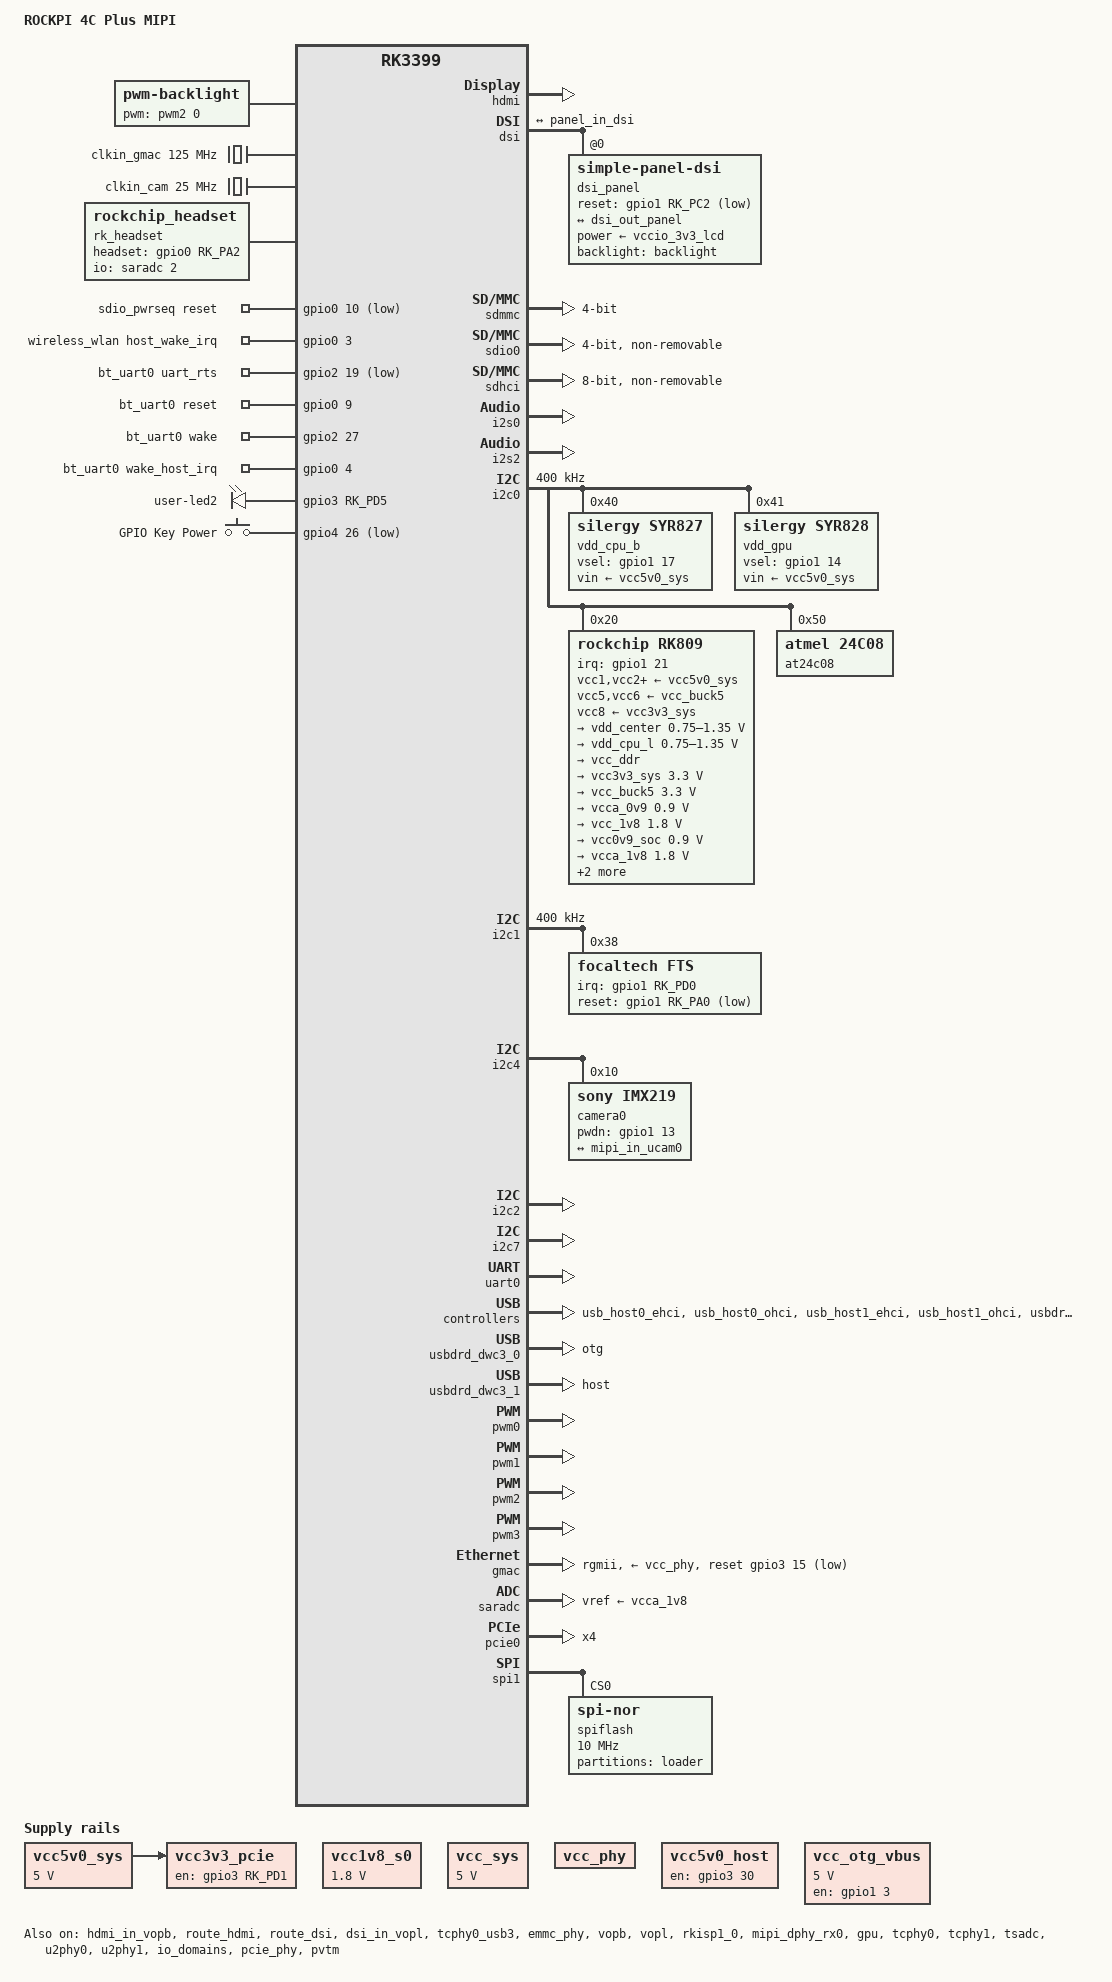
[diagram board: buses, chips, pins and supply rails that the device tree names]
/*
 * Copyright (c) 2016 Fuzhou Rockchip Electronics Co., Ltd
 *
 * This file is dual-licensed: you can use it either under the terms
 * of the GPL or the X11 license, at your option. Note that this dual
 * licensing only applies to this file, and not this project as a
 * whole.
 *
 *  a) This file is free software; you can redistribute it and/or
 *     modify it under the terms of the GNU General Public License as
 *     published by the Free Software Foundation; either version 2 of the
 *     License, or (at your option) any later version.
 *
 *     This file is distributed in the hope that it will be useful,
 *     but WITHOUT ANY WARRANTY; without even the implied warranty of
 *     MERCHANTABILITY or FITNESS FOR A PARTICULAR PURPOSE.  See the
 *     GNU General Public License for more details.
 *
 * Or, alternatively,
 *
 *  b) Permission is hereby granted, free of charge, to any person
 *     obtaining a copy of this software and associated documentation
 *     files (the "Software"), to deal in the Software without
 *     restriction, including without limitation the rights to use,
 *     copy, modify, merge, publish, distribute, sublicense, and/or
 *     sell copies of the Software, and to permit persons to whom the
 *     Software is furnished to do so, subject to the following
 *     conditions:
 *
 *     The above copyright notice and this permission notice shall be
 *     included in all copies or substantial portions of the Software.
 *
 *     THE SOFTWARE IS PROVIDED "AS IS", WITHOUT WARRANTY OF ANY KIND,
 *     EXPRESS OR IMPLIED, INCLUDING BUT NOT LIMITED TO THE WARRANTIES
 *     OF MERCHANTABILITY, FITNESS FOR A PARTICULAR PURPOSE AND
 *     NONINFRINGEMENT. IN NO EVENT SHALL THE AUTHORS OR COPYRIGHT
 *     HOLDERS BE LIABLE FOR ANY CLAIM, DAMAGES OR OTHER LIABILITY,
 *     WHETHER IN AN ACTION OF CONTRACT, TORT OR OTHERWISE, ARISING
 *     FROM, OUT OF OR IN CONNECTION WITH THE SOFTWARE OR THE USE OR
 *     OTHER DEALINGS IN THE SOFTWARE.
 */

/dts-v1/;

#include <dt-bindings/pwm/pwm.h>
#include <dt-bindings/input/input.h>
#include "rk3399.dtsi"
#include "rk3399-android.dtsi"
#include "rk3399-opp.dtsi"
#include "rk3399-vop-clk-set.dtsi"

&firmware_android {
	status = "disabled";
	compatible = "android,firmware";
	boot_devices = "fe330000.sdhci";
	vbmeta {
		status = "disabled";
		compatible = "android,vbmeta";
		parts = "vbmeta,boot,system,vendor,dtbo";
	};
	fstab {
		status = "disabled";
		compatible = "android,fstab";
		vendor {
			compatible = "android,vendor";
			dev = "/dev/block/by-name/vendor";
			type = "ext4";
			mnt_flags = "ro,barrier=1,inode_readahead_blks=8";
			fsmgr_flags = "wait,avb";
		};
	};
};

/ {

	model = "ROCKPI 4C Plus MIPI";
	compatible = "rockchip,rockpi","rockchip,rk3399";
	chosen {
	bootargs = "earlycon=uart8250,mmio32,0xff1a0000 swiotlb=1 console=ttyFIQ0 androidboot.baseband=N/A androidboot.veritymode=enforcing androidboot.hardware=rk30board androidboot.console=ttyFIQ0 init=/init initrd=0x62000001,0x00800000 coherent_pool=1m";
	};

	backlight: backlight {
		status = "okay";
		compatible = "pwm-backlight";
		pwms = <&pwm2 0 25000 0>;
		brightness-levels = <
			  0  20  20  21  21  22  22  23
			 23  24  24  25  25  26  26  27
			 27  28  28  29  29  30  30  31
			 31  32  32  33  33  34  34  35
			 35  36  36  37  37  38  38  39
			 40  41  42  43  44  45  46  47
			 48  49  50  51  52  53  54  55
			 56  57  58  59  60  61  62  63
			 64  65  66  67  68  69  70  71
			 72  73  74  75  76  77  78  79
			 80  81  82  83  84  85  86  87
			 88  89  90  91  92  93  94  95
			 96  97  98  99 100 101 102 103
			104 105 106 107 108 109 110 111
			112 113 114 115 116 117 118 119
			120 121 122 123 124 125 126 127
			128 129 130 131 132 133 134 135
			136 137 138 139 140 141 142 143
			144 145 146 147 148 149 150 151
			152 153 154 155 156 157 158 159
			160 161 162 163 164 165 166 167
			168 169 170 171 172 173 174 175
			176 177 178 179 180 181 182 183
			184 185 186 187 188 189 190 191
			192 193 194 195 196 197 198 199
			200 201 202 203 204 205 206 207
			208 209 210 211 212 213 214 215
			216 217 218 219 220 221 222 223
			224 225 226 227 228 229 230 231
			232 233 234 235 236 237 238 239
			240 241 242 243 244 245 246 247
			248 249 250 251 252 253 254 255
		>;
		default-brightness-level = <200>;	//开机时默认背光亮度
		//enable-gpios = <&gpio3 RK_PD7 GPIO_ACTIVE_HIGH>;
	};

	vcc5v0_sys: vcc5v0-sys {
		compatible = "regulator-fixed";
		regulator-name = "vcc5v0_sys";
		regulator-always-on;
		regulator-boot-on;
		regulator-min-microvolt = <5000000>;
		regulator-max-microvolt = <5000000>;
	}; 

	vcc1v8_s0: vcc1v8-s0 {
		compatible = "regulator-fixed";
		regulator-name = "vcc1v8_s0";
		regulator-min-microvolt = <1800000>;
		regulator-max-microvolt = <1800000>;
		regulator-always-on;
	};

	vcc_sys: vcc-sys {
		compatible = "regulator-fixed";
		regulator-name = "vcc_sys";
		regulator-min-microvolt = <5000000>;
		regulator-max-microvolt = <5000000>;
		regulator-always-on;
	};

	vcc3v3_pcie: vcc3v3-pcie-regulator {
		compatible = "regulator-fixed";
		enable-active-high;
		gpio = <&gpio3 RK_PD1 GPIO_ACTIVE_HIGH>;
		pinctrl-names = "default";
		pinctrl-0 = <&pcie_drv>;
		regulator-boot-on;
		regulator-always-on;
		regulator-name = "vcc3v3_pcie";
		vin-supply = <&vcc5v0_sys>;
	};

	vcc_phy: vcc-phy-regulator {
		compatible = "regulator-fixed";
		regulator-name = "vcc_phy";
		regulator-always-on;
		regulator-boot-on;
	};

	vcc5v0_host: vcc5v0-host-regulator {
		compatible = "regulator-fixed";
		enable-active-high;
		gpio = <&gpio3 30 GPIO_ACTIVE_HIGH>;
		pinctrl-names = "default";
		pinctrl-0 = <&host_vbus_drv>;
		regulator-name = "vcc5v0_host";
		regulator-always-on;
		regulator-boot-on;
	};

	vcc_otg_vbus: otg-vbus-regulator {
		compatible = "regulator-fixed";
		gpio = <&gpio1 3 GPIO_ACTIVE_HIGH>;
		pinctrl-names = "default";
		pinctrl-0 = <&otg_vbus_drv>;
		regulator-name = "vcc_otg_vbus";
		regulator-min-microvolt = <5000000>;
		regulator-max-microvolt = <5000000>;
		enable-active-high;
	};

	clkin_gmac: external-gmac-clock {
		compatible = "fixed-clock";
		clock-frequency = <125000000>;
		clock-output-names = "clkin_gmac";
		#clock-cells = <0>;
	};

	clkin_cam: external-camera-clock {
		compatible = "fixed-clock";
		clock-frequency = <25000000>;
		clock-output-names = "cam_clk";
		#clock-cells = <0>;
	};

	rk809_sound: rk809-sound {
		status = "okay";
		compatible = "simple-audio-card";
		simple-audio-card,format = "i2s";
		simple-audio-card,name = "rockchip,rk809-codec";
		simple-audio-card,mclk-fs = <256>;
		simple-audio-card,widgets =
			"Microphone", "Mic Jack",
			"Headphone", "Headphone Jack";
		simple-audio-card,routing =
			"Mic Jack", "MICBIAS1",
			"IN1P", "Mic Jack",
			"Headphone Jack", "HPOL",
			"Headphone Jack", "HPOR";
		simple-audio-card,cpu {
			sound-dai = <&i2s0>;
		};
		simple-audio-card,codec {
			sound-dai = <&rk809_codec>;
		};
	};

	rk_headset: rk-headset {
		status = "okay";
		compatible = "rockchip_headset";
		headset_gpio = <&gpio0 RK_PA2 GPIO_ACTIVE_HIGH>;
		pinctrl-names = "default";
		pinctrl-0 = <&hp_det>;
		io-channels = <&saradc 2>;    //HP_HOOK引脚
	};

	hdmi_sound: hdmi-sound {
		status = "disabled";
		compatible = "simple-audio-card";
		simple-audio-card,format = "i2s";
		simple-audio-card,mclk-fs = <256>;
		simple-audio-card,name = "rockchip,hdmi";

		simple-audio-card,cpu {
			sound-dai = <&i2s2>;
		};
		simple-audio-card,codec {
			sound-dai = <&dw_hdmi_audio>;
		};
	};

	dw_hdmi_audio: dw-hdmi-audio {
		status = "disabled";
		compatible = "rockchip,dw-hdmi-audio";
		#sound-dai-cells = <0>;
	};

	hdmi_codec: hdmi-codec {
		compatible = "simple-audio-card";
		simple-audio-card,format = "i2s";
		simple-audio-card,mclk-fs = <256>;
		simple-audio-card,name = "rockchiphdmi";

		simple-audio-card,cpu {
			sound-dai = <&i2s2>;
		};

		simple-audio-card,codec {
			sound-dai = <&hdmi>;
		};
	};

	spdif-sound {
		status = "disabled";
		compatible = "simple-audio-card";
		simple-audio-card,name = "ROCKCHIP,SPDIF";
		simple-audio-card,cpu {
			sound-dai = <&spdif>;
		};
		simple-audio-card,codec {
			sound-dai = <&spdif_out>;
		};
	};

	spdif_out: spdif-out {
		status = "disabled";
		compatible = "linux,spdif-dit";
		#sound-dai-cells = <0>;
	};

	sdio_pwrseq: sdio-pwrseq {
		compatible = "mmc-pwrseq-simple";
		clocks = <&rk809 1>;
		clock-names = "ext_clock";
		pinctrl-names = "default";
		pinctrl-0 = <&wifi_enable_h>;

		/*
		 * On the module itself this is one of these (depending
		 * on the actual card populated):
		 * - SDIO_RESET_L_WL_REG_ON
		 * - PDN (power down when low)
		 */
		reset-gpios = <&gpio0 10 GPIO_ACTIVE_LOW>;
	};

	wireless_wlan: wireless-wlan {
		compatible = "wlan-platdata";
		rockchip,grf = <&grf>;
		wifi_chip_type = "ap6256";
		sdio_vref = <1800>;
		WIFI,host_wake_irq = <&gpio0 3 GPIO_ACTIVE_HIGH>;
		status = "okay";
	};

	bt_uart0: wireless_bluetooth: wireless-bluetooth {
		compatible = "bluetooth-platdata";
		clocks = <&rk809 1>;
		clock-names = "ext_clock";
		/* wifi-bt-power-toggle; */
		uart_rts_gpios = <&gpio2 19 GPIO_ACTIVE_LOW>;
		pinctrl-names = "default", "rts_gpio";
		pinctrl-0 = <&uart0_rts>;
		pinctrl-1 = <&uart0_gpios>;
		/* BT,power_gpio  = <&gpio3 19 GPIO_ACTIVE_HIGH>; */
		BT,reset_gpio    = <&gpio0 9 GPIO_ACTIVE_HIGH>;
		BT,wake_gpio     = <&gpio2 27 GPIO_ACTIVE_HIGH>;
		BT,wake_host_irq = <&gpio0 4 GPIO_ACTIVE_HIGH>;
		status = "okay";
	};

	gpio-leds {
		compatible = "gpio-leds";
		status = "okay";

		user-led2 {
			gpios = <&gpio3 RK_PD5 GPIO_ACTIVE_HIGH>;
			linux,default-trigger = "heartbeat";
			default-state = "on";
		};
	};

	test-power {
		status = "okay";
	};

	vpd0: virtual-pd0 {
		status = "disabled";
		compatible = "linux,extcon-pd-virtual";
		dp-det-gpios = <&gpio4 25 GPIO_ACTIVE_LOW>;
		/* 0: positive, 1: negative*/
		vpd,init-flip = <0>;
		/* 0: u2, 1: u3*/
		vpd,init-ss = <1>;
		/* 0: dfp, 1: ufp, 2: dp 3: dp/ufp */
		vpd,init-mode = <2>;
	};
};

&hdmi {
	pinctrl-names = "default";
	pinctrl-0 = <&hdmi_i2c_xfer>, <&hdmi_cec>;
	status = "okay";
	rockchip,phy-table =
		<74250000 0x8009 0x0004 0x0272>,
		<165000000 0x802b 0x0004 0x0209>,
		<297000000 0x8039 0x0005 0x028d>,
		<594000000 0x8039 0x0000 0x019d>,
		<000000000 0x0000 0x0000 0x0000>;
};

&dsi {
	status = "okay";
	rockchip,lane-rate = <480>;

	dsi_panel: panel@0 {
		status = "okay";
		compatible = "simple-panel-dsi";
		reg = <0>;

		backlight = <&backlight>;
		power-supply = <&vccio_3v3_lcd>;

		reset-gpios = <&gpio1 RK_PC2 GPIO_ACTIVE_LOW>;

		pinctrl-names = "default";
		pinctrl-0 = <&lcd_rst_gpio>;

		prepare-delay-ms = <120>;
		reset-delay-ms = <120>;
		init-delay-ms = <120>;
		enable-delay-ms = <100>;
		disable-delay-ms = <120>;
		unprepare-delay-ms = <120>;

		width-mm = <62>;
		height-mm = <110>;

		dsi,flags = <(MIPI_DSI_MODE_VIDEO | MIPI_DSI_MODE_VIDEO_BURST |
				MIPI_DSI_MODE_LPM | MIPI_DSI_MODE_EOT_PACKET)>;
		dsi,format = <MIPI_DSI_FMT_RGB888>;
		dsi,lanes = <4>;

		panel-init-sequence = [
			15 00 02 E0 00
			15 00 02 E1 93
			15 00 02 E2 65
			15 00 02 E3 F8
			15 00 02 80 03
			15 00 02 E0 01
			15 00 02 00 00
			15 00 02 01 3B
			15 00 02 0C 74
			15 00 02 17 00
			15 00 02 18 AF
			15 00 02 19 00
			15 00 02 1A 00
			15 00 02 1B AF
			15 00 02 1C 00
			15 00 02 35 26
			15 00 02 37 09
			15 00 02 38 04
			15 00 02 39 00
			15 00 02 3A 01
			15 00 02 3C 78
			15 00 02 3D FF
			15 00 02 3E FF
			15 00 02 3F 7F
			15 00 02 40 06
			15 00 02 41 A0
			15 00 02 42 81
			15 00 02 43 14
			15 00 02 44 23
			15 00 02 45 28
			15 00 02 55 02
			15 00 02 57 69
			15 00 02 59 0A
			15 00 02 5A 2A
			15 00 02 5B 17
			15 00 02 5D 7F
			15 00 02 5E 6B
			15 00 02 5F 5C
			15 00 02 60 4F
			15 00 02 61 4D
			15 00 02 62 3F
			15 00 02 63 42
			15 00 02 64 2B
			15 00 02 65 44
			15 00 02 66 43
			15 00 02 67 43
			15 00 02 68 63
			15 00 02 69 52
			15 00 02 6A 5A
			15 00 02 6B 4F
			15 00 02 6C 4E
			15 00 02 6D 20
			15 00 02 6E 0F
			15 00 02 6F 00
			15 00 02 70 7F
			15 00 02 71 6B
			15 00 02 72 5C
			15 00 02 73 4F
			15 00 02 74 4D
			15 00 02 75 3F
			15 00 02 76 42
			15 00 02 77 2B
			15 00 02 78 44
			15 00 02 79 43
			15 00 02 7A 43
			15 00 02 7B 63
			15 00 02 7C 52
			15 00 02 7D 5A
			15 00 02 7E 4F
			15 00 02 7F 4E
			15 00 02 80 20
			15 00 02 81 0F
			15 00 02 82 00
			15 00 02 E0 02
			15 00 02 00 02
			15 00 02 01 02
			15 00 02 02 00
			15 00 02 03 00
			15 00 02 04 1E
			15 00 02 05 1E
			15 00 02 06 1F
			15 00 02 07 1F
			15 00 02 08 1F
			15 00 02 09 17
			15 00 02 0A 17
			15 00 02 0B 37
			15 00 02 0C 37
			15 00 02 0D 47
			15 00 02 0E 47
			15 00 02 0F 45
			15 00 02 10 45
			15 00 02 11 4B
			15 00 02 12 4B
			15 00 02 13 49
			15 00 02 14 49
			15 00 02 15 1F
			15 00 02 16 01
			15 00 02 17 01
			15 00 02 18 00
			15 00 02 19 00
			15 00 02 1A 1E
			15 00 02 1B 1E
			15 00 02 1C 1F
			15 00 02 1D 1F
			15 00 02 1E 1F
			15 00 02 1F 17
			15 00 02 20 17
			15 00 02 21 37
			15 00 02 22 37
			15 00 02 23 46
			15 00 02 24 46
			15 00 02 25 44
			15 00 02 26 44
			15 00 02 27 4A
			15 00 02 28 4A
			15 00 02 29 48
			15 00 02 2A 48
			15 00 02 2B 1F
			15 00 02 2C 01
			15 00 02 2D 01
			15 00 02 2E 00
			15 00 02 2F 00
			15 00 02 30 1F
			15 00 02 31 1F
			15 00 02 32 1E
			15 00 02 33 1E
			15 00 02 34 1F
			15 00 02 35 17
			15 00 02 36 17
			15 00 02 37 37
			15 00 02 38 37
			15 00 02 39 08
			15 00 02 3A 08
			15 00 02 3B 0A
			15 00 02 3C 0A
			15 00 02 3D 04
			15 00 02 3E 04
			15 00 02 3F 06
			15 00 02 40 06
			15 00 02 41 1F
			15 00 02 42 02
			15 00 02 43 02
			15 00 02 44 00
			15 00 02 45 00
			15 00 02 46 1F
			15 00 02 47 1F
			15 00 02 48 1E
			15 00 02 49 1E
			15 00 02 4A 1F
			15 00 02 4B 17
			15 00 02 4C 17
			15 00 02 4D 37
			15 00 02 4E 37
			15 00 02 4F 09
			15 00 02 50 09
			15 00 02 51 0B
			15 00 02 52 0B
			15 00 02 53 05
			15 00 02 54 05
			15 00 02 55 07
			15 00 02 56 07
			15 00 02 57 1F
			15 00 02 58 40
			15 00 02 5B 30
			15 00 02 5C 16
			15 00 02 5D 34
			15 00 02 5E 05
			15 00 02 5F 02
			15 00 02 63 00
			15 00 02 64 6A
			15 00 02 67 73
			15 00 02 68 1D
			15 00 02 69 08
			15 00 02 6A 6A
			15 00 02 6B 08
			15 00 02 6C 00
			15 00 02 6D 00
			15 00 02 6E 00
			15 00 02 6F 88
			15 00 02 75 FF
			15 00 02 77 DD
			15 00 02 78 3F
			15 00 02 79 15
			15 00 02 7A 17
			15 00 02 7D 14
			15 00 02 7E 82
			15 00 02 E0 04
			15 00 02 00 0E
			15 00 02 02 B3
			15 00 02 09 61
			15 00 02 0E 48
			15 00 02 E0 00
			15 00 02 E6 02
			15 00 02 E7 0C
			05 78 01 11
			05 14 01 29
		];

		panel-exit-sequence = [
			05 14 01 28
			05 78 01 10
		];

		display-timings {
			native-mode = <&timing0>;
			timing0: timing0 {
				clock-frequency = <67000000>;
				hactive = <800>;
				vactive = <1280>;

				vback-porch = <20>;
				vfront-porch = <20>;

				hback-porch = <20>;
				hfront-porch = <40>;

				hsync-len = <18>;
				vsync-len = <4>;

				vsync-active = <0>;
				hsync-active = <0>;
				de-active = <0>;
				pixelclk-active = <0>;
			};
		};

		ports {
			#address-cells = <1>;
			#size-cells = <0>;

			port@0 {
				reg = <0>;
				panel_in_dsi: endpoint {
					remote-endpoint = <&dsi_out_panel>;
				};
			};
		};
	};

	ports {
		#address-cells = <1>;
		#size-cells = <0>;

		port@1 {
			reg = <1>;
			dsi_out_panel: endpoint {
				remote-endpoint = <&panel_in_dsi>;
			};
		};
	};
};

&hdmi_in_vopl {
	status = "disabled";
};

&hdmi_in_vopb {
	status = "okay";
};

&route_hdmi {
	status = "okay";
};

&route_dsi {
	status = "okay";
	connect = <&vopl_out_dsi>;
};

&dp_in_vopb {
	status = "disabled";
};

&dp_in_vopl {
	status = "disabled";
};

&edp_in_vopl {
	status = "disabled";
};

&edp_in_vopb {
	status = "disabled";
};

&edp_in_vopl {
	status = "disabled";
};

&dsi_in_vopl {
    status = "okay";
	remote-endpoint = <&vopl_out_dsi>;
};

&dsi_in_vopb {
    status = "disabled";
};

&dsi1_in_vopl {
    status = "disabled";
};

&dsi1_in_vopb {
    status = "disabled";
};

&tcphy0_dp {
	status = "disabled";
};

&tcphy0_usb3 {
	status = "okay";
};

&cdn_dp {
	status = "disabled";
	extcon = <&vpd0>;
};

&sdmmc {
	clock-frequency = <100000000>;
	clock-freq-min-max = <100000 100000000>;
	supports-sd;
	bus-width = <4>;
	cap-mmc-highspeed;
	cap-sd-highspeed;
	disable-wp;
	num-slots = <1>;
	// sd-uhs-sdr104;
	vqmmc-supply = <&vcc_sd>;
	pinctrl-names = "default";
	pinctrl-0 = <&sdmmc_clk &sdmmc_cmd &sdmmc_cd &sdmmc_bus4>;
	card-detect-delay = <800>;
	status = "okay";
};

&sdio0 {
	clock-frequency = <100000000>;
	clock-freq-min-max = <200000 100000000>;
	supports-sdio;
	bus-width = <4>;
	disable-wp;
	cap-sd-highspeed;
	cap-sdio-irq;
	keep-power-in-suspend;
	mmc-pwrseq = <&sdio_pwrseq>;
	non-removable;
	num-slots = <1>;
	pinctrl-names = "default";
	pinctrl-0 = <&sdio0_bus4 &sdio0_cmd &sdio0_clk>;
	sd-uhs-sdr104;
	status = "okay";
};

&emmc_phy {
	status = "okay";
};

&sdhci {
	max-frequency = <150000000>;
	bus-width = <8>;
	mmc-hs400-1_8v;
	supports-emmc;
	non-removable;
	mmc-hs400-enhanced-strobe;
	status = "okay";
};

&i2s0 {
	status = "okay";
	rockchip,i2s-broken-burst-len;
	rockchip,playback-channels = <2>;
	rockchip,capture-channels = <2>;
	#sound-dai-cells = <0>;
	pinctrl-names = "default";
	pinctrl-0 = <&i2s0_8ch_bus>;
};

&i2s1 {
	status = "disabled";
	#sound-dai-cells = <0>;
};

&i2s2 {
	#sound-dai-cells = <0>;
};

&spdif {
	pinctrl-0 = <&spdif_bus_1>;
	status = "disabled";
	#sound-dai-cells = <0>;
};

&i2c0 {
	status = "okay";
	i2c-scl-rising-time-ns = <168>;
	i2c-scl-falling-time-ns = <4>;
	clock-frequency = <400000>;

	vdd_cpu_b: syr827@40 {
		compatible = "silergy,syr827";
		reg = <0x40>;
		regulator-compatible = "fan53555-reg";
		pinctrl-0 = <&vsel1_gpio>;
		vsel-gpios = <&gpio1 17 GPIO_ACTIVE_HIGH>;
		regulator-name = "vdd_cpu_b";
		regulator-min-microvolt = <712500>;
		regulator-max-microvolt = <1500000>;
		regulator-ramp-delay = <1000>;
		fcs,suspend-voltage-selector = <1>;
		regulator-always-on;
		regulator-boot-on;
		vin-supply = <&vcc5v0_sys>;
		regulator-state-mem {
			regulator-off-in-suspend;
		};
	};

	vdd_gpu: syr828@41 {
		compatible = "silergy,syr828";
		reg = <0x41>;
		regulator-compatible = "fan53555-reg";
		pinctrl-0 = <&vsel2_gpio>;
		vsel-gpios = <&gpio1 14 GPIO_ACTIVE_HIGH>;
		regulator-name = "vdd_gpu";
		regulator-min-microvolt = <712500>;
		regulator-max-microvolt = <1500000>;
		regulator-ramp-delay = <1000>;
		fcs,suspend-voltage-selector = <1>;
		regulator-always-on;
		regulator-boot-on;
		vin-supply = <&vcc5v0_sys>;
		regulator-initial-mode = <1>; /* 1:force PWM 2:auto */
		regulator-state-mem {
			regulator-off-in-suspend;
		};
	};

	rk809: pmic@20 {
		compatible = "rockchip,rk809";
		reg = <0x20>;
		interrupt-parent = <&gpio1>;
		interrupts = <21 IRQ_TYPE_LEVEL_LOW>;
		pinctrl-names = "default", "pmic-sleep",
						"pmic-power-off", "pmic-reset";
		pinctrl-0 = <&pmic_int_l>;
		pinctrl-1 = <&soc_slppin_slp>, <&rk809_slppin_slp>;
		pinctrl-2 = <&soc_slppin_gpio>, <&rk809_slppin_pwrdn>;
		pinctrl-3 = <&soc_slppin_gpio>, <&rk809_slppin_null>;
		rockchip,system-power-controller;
		#clock-cells = <1>;
		pmic-reset-func = <0>;
		wakeup-source;
		clock-output-names = "rk808-clkout1", "rk808-clkout2";

		vcc1-supply = <&vcc5v0_sys>;
		vcc2-supply = <&vcc5v0_sys>;
		vcc3-supply = <&vcc5v0_sys>;
		vcc4-supply = <&vcc5v0_sys>;
		vcc5-supply = <&vcc_buck5>;
		vcc6-supply = <&vcc_buck5>;
		vcc7-supply = <&vcc5v0_sys>;
		vcc8-supply = <&vcc3v3_sys>;
		vcc9-supply = <&vcc5v0_sys>;

		pwrkey {
				status = "okay";
		};

		rk809_rtc: rtc {
				status = "okay";
		};

		pinctrl_rk8xx: pinctrl_rk8xx {
				gpio-controller;
				#gpio-cells = <2>;

				rk809_slppin_null: rk809_slppin_null {
								pins = "gpio_slp";
								function = "pin_fun0";
				};

				rk809_slppin_slp: rk809_slppin_slp {
								pins = "gpio_slp";
								function = "pin_fun1";
				};

				rk809_slppin_pwrdn: rk809_slppin_pwrdn {
								pins = "gpio_slp";
								function = "pin_fun2";
				};

				rk809_slppin_rst: rk809_slppin_rst {
								pins = "gpio_slp";
								function = "pin_fun3";
				};
		};

		regulators {
			vdd_center: DCDC_REG1 {
				regulator-always-on;
				regulator-boot-on;
				regulator-min-microvolt = <750000>;
				regulator-max-microvolt = <1350000>;
				regulator-ramp-delay = <6001>;
				regulator-initial-mode = <0x2>;
				regulator-name = "vdd_center";
				regulator-state-mem {
					regulator-off-in-suspend;
				};
			};

			vdd_cpu_l: DCDC_REG2 {
				regulator-always-on;
				regulator-boot-on;
				regulator-min-microvolt = <750000>;
				regulator-max-microvolt = <1350000>;
				regulator-ramp-delay = <6001>;
				regulator-initial-mode = <0x2>;
				regulator-name = "vdd_cpu_l";
				regulator-state-mem {
					regulator-off-in-suspend;
				};
			};

			vcc_ddr: DCDC_REG3 {
				regulator-always-on;
				regulator-boot-on;
				regulator-name = "vcc_ddr";
				regulator-initial-mode = <0x2>;
				regulator-state-mem {
					regulator-on-in-suspend;
				};
			};

			vcc3v3_sys: DCDC_REG4 {
				regulator-always-on;
				regulator-boot-on;
				regulator-min-microvolt = <3300000>;
				regulator-max-microvolt = <3300000>;
				regulator-initial-mode = <0x2>;
				regulator-name = "vcc3v3_sys";
				regulator-state-mem {
					regulator-on-in-suspend;
					regulator-suspend-microvolt = <3300000>;
				};
			};

			vcc_buck5: DCDC_REG5 {
				regulator-always-on;
				regulator-boot-on;
				regulator-min-microvolt = <3300000>;
				regulator-max-microvolt = <3300000>;
				regulator-name = "vcc_buck5";
				regulator-state-mem {
					regulator-on-in-suspend;
					regulator-suspend-microvolt = <3300000>;
				};
			};

			vcca_0v9: LDO_REG1 {
				regulator-always-on;
				regulator-boot-on;
				regulator-min-microvolt = <900000>;
				regulator-max-microvolt = <900000>;
				regulator-name = "vcca_0v9";
				regulator-state-mem {
					regulator-off-in-suspend;
				};
			};

			vcc_1v8: LDO_REG2 {
				regulator-always-on;
				regulator-boot-on;
				regulator-min-microvolt = <1800000>;
				regulator-max-microvolt = <1800000>;

				regulator-name = "vcc_1v8";
				regulator-state-mem {
					regulator-on-in-suspend;
					regulator-suspend-microvolt = <1800000>;
				};
			};

			vcc0v9_soc: LDO_REG3 {
				regulator-always-on;
				regulator-boot-on;
				regulator-min-microvolt = <900000>;
				regulator-max-microvolt = <900000>;

				regulator-name = "vcc0v9_soc";
				regulator-state-mem {
					regulator-on-in-suspend;
					regulator-suspend-microvolt = <900000>;
				};
			};

			vcca_1v8: LDO_REG4 {
				regulator-always-on;
				regulator-boot-on;
				regulator-min-microvolt = <1800000>;
				regulator-max-microvolt = <1800000>;

				regulator-name = "vcca_1v8";
				regulator-state-mem {
					regulator-off-in-suspend;
				};
			};

			vdd3v3_tp: LDO_REG5 {
				regulator-always-on;
				regulator-boot-on;
				regulator-min-microvolt = <3300000>;
				regulator-max-microvolt = <3300000>;

				regulator-name = "vdd3v3_tp";
				regulator-state-mem {
					regulator-off-in-suspend;
				};
			};

			vcc_1v5: LDO_REG6 {
				regulator-always-on;
				regulator-boot-on;
				regulator-min-microvolt = <1500000>;
				regulator-max-microvolt = <1500000>;

				regulator-name = "vcc_1v5";
				regulator-state-mem {
					regulator-off-in-suspend;
				};
			};

			vcc_3v0: LDO_REG7 {
				regulator-always-on;
				regulator-boot-on;
				regulator-min-microvolt = <3000000>;
				regulator-max-microvolt = <3000000>;

				regulator-name = "vcc_3v0";
				regulator-state-mem {
					regulator-off-in-suspend;
				};
			};

			vccio_sd: LDO_REG8 {
				regulator-always-on;
				regulator-boot-on;
				regulator-min-microvolt = <1800000>;
				regulator-max-microvolt = <3300000>;

				regulator-name = "vccio_sd";
				regulator-state-mem {
					regulator-off-in-suspend;
				};
			};

			vcc_sd: LDO_REG9 {
				regulator-always-on;
				regulator-boot-on;
				regulator-min-microvolt = <3300000>;
				regulator-max-microvolt = <3300000>;

				regulator-name = "vcc_sd";
				regulator-state-mem {
					regulator-off-in-suspend;
				};
			};

			vcc5v0_usb: SWITCH_REG1 {
				regulator-always-on;
				regulator-boot-on;
				regulator-name = "vcc5v0_usb";
				regulator-state-mem {
					regulator-on-in-suspend;
				};
			};

			vccio_3v3_lcd: SWITCH_REG2 {
				regulator-always-on;
				regulator-boot-on;
				regulator-name = "vccio_3v3";
				regulator-state-mem {
					regulator-off-in-suspend;
				};
			};
		};
		/*
		battery {
			compatible = "rk817,battery";
			ocv_table = <7000 7250 7370 7384 7436 7470 7496
						7520 7548 7576 7604 7632 7668 7706
						7754 7816 7892 7950 8036 8142 8212>;
			design_capacity = <2500>;
			design_qmax = <2750>;
			bat_res = <100>;
			sleep_enter_current = <300>;
			sleep_exit_current = <300>;
			sleep_filter_current = <100>;
			power_off_thresd = <7000>;
			zero_algorithm_vol = <7700>;
			max_soc_offset = <60>;
			monitor_sec = <5>;
			sample_res = <10>;
			virtual_power = <0>;
			bat_res_up = <140>;
			bat_res_down = <20>;
		};
		*/
		rk809_codec: codec {
			#sound-dai-cells = <0>;
			compatible = "rockchip,rk809-codec", "rockchip,rk817-codec";
			clocks = <&cru SCLK_I2S_8CH_OUT>;
			clock-names = "mclk";
			pinctrl-names = "default";
			pinctrl-0 = <&i2s_8ch_mclk>;
			hp-volume = <20>;
			spk-volume = <3>;
			mic-in-differential;
			status = "okay";
		};
	};

    at24c08@50 {
        status = "okay";
        compatible = "atmel,24c08";
        reg = <0x50>;
        pagesize = <8>;
    };
};

&i2c1 {
	status = "okay";
	i2c-scl-rising-time-ns = <150>;
	i2c-scl-falling-time-ns = <30>;
	clock-frequency = <400000>;

	focaltech: focaltech@38 {
		status = "okay";
		compatible = "focaltech,fts";
		reg = <0x38>;
		//power-supply = <&vdd3v3_tp>;
		pinctrl-names = "default";
		pinctrl-0 = <&tp_gpio>;
		//interrupts = <&gpio1 RK_PA0 IRQ_TYPE_EDGE_FALLING>;
		focaltech,irq-gpio = <&gpio1 RK_PD0 IRQ_TYPE_EDGE_FALLING>;
		focaltech,reset-gpio = <&gpio1 RK_PA0 GPIO_ACTIVE_LOW>;
		focaltech,display-coords =  <0 0 799 1279>;
		focaltech,max-touch-number = <5>;
		//focaltech,have-key;
		//focaltech,key-number = <3>;
		//focaltech,keys = <139 102 158>;
		//focaltech,key-y-coord = <2000>;
		//focaltech,key-x-coords = <200 600 800>;
	};
};

&i2c4 {
	status = "okay";

	camera0: camera0-module@10 {
		status = "okay";
		compatible = "sony,imx219";
		reg = <0x10>;

		clocks = <&cru SCLK_CIF_OUT>;
		clock-names = "clk_cif_out";
		pinctrl-names = "rockchip,camera_default";
		pwdn-gpios = <&gpio1 13 GPIO_ACTIVE_HIGH>;
		rockchip,camera-module-index = <0>;
		rockchip,camera-module-facing = "back";
		rockchip,camera-module-name = "default";
		rockchip,camera-module-lens-name = "default";

		port {
			ucam_out0: endpoint {
				remote-endpoint = <&mipi_in_ucam0>;
				data-lanes = <1 2>;
			};
		};
	};

	camera1: camera1-module@36 {
		status = "disabled";
		compatible = "ovti,ov5647";
		reg = <0x36>;

		clocks = <&clkin_cam>;
		clock-names = "xclk";
		pinctrl-names = "rockchip,camera_default";
		pwdn-gpios = <&gpio1 13 GPIO_ACTIVE_HIGH>;
		rockchip,camera-module-index = <0>;
		rockchip,camera-module-facing = "back";
		rockchip,camera-module-name = "default";
		rockchip,camera-module-lens-name = "default";

		port {
			ucam_out1: endpoint {
				remote-endpoint = <&mipi_in_ucam0>;
				data-lanes = <1 2>;
			};
		};
	};
	camera2: camera2-module@36 {
		status = "disabled";
		compatible = "ovti,ov5648";
		reg = <0x36>;

		clocks = <&cru SCLK_CIF_OUT>;
		clock-names = "xvclk";
		pinctrl-names = "rockchip,camera_default";
		pwdn-gpios = <&gpio1 13 GPIO_ACTIVE_HIGH>;

		rockchip,camera-module-index = <0>;
		rockchip,camera-module-facing = "back";
		rockchip,camera-module-name = "default";
		rockchip,camera-module-lens-name = "default";

		port {
			ucam_out2: endpoint {
				remote-endpoint = <&mipi_in_ucam0>;
				data-lanes = <1 2>;
			};
		};
	};
};

&i2c2 {
	status = "okay";
};

&i2c6 {
	status = "disabled";
};

&i2c7 {
	status = "okay";
};

&vopb {
	status = "okay";
};

&vopb_mmu {
	status = "okay";
};

&vopl {
	status = "okay";
};

&vopl_mmu {
	status = "okay";
};

&rkisp1_0 {
	status = "okay";
	port {
		#address-cells = <1>;
		#size-cells = <0>;

		isp0_mipi_in: endpoint@0 {
			reg = <0>;
			remote-endpoint = <&dphy_rx0_out>;
		};
	};
};

&mipi_dphy_rx0 {
	status = "okay";

	ports {
		#address-cells = <1>;
		#size-cells = <0>;

		port@0 {
			reg = <0>;
			#address-cells = <1>;
			#size-cells = <0>;

			mipi_in_ucam0: endpoint@1 {
				reg = <1>;
				remote-endpoint = <&ucam_out0>;
				data-lanes = <1 2>;
			};
		};

		port@1 {
			reg = <1>;
			#address-cells = <1>;
			#size-cells = <0>;

			dphy_rx0_out: endpoint@0 {
				reg = <0>;
				remote-endpoint = <&isp0_mipi_in>;
			};
		};
	};
};

&isp0_mmu {
    status = "okay";
};


&isp1_mmu {
	status = "disabled";
};


&cpu_l0 {
	cpu-supply = <&vdd_cpu_l>;
};

&cpu_l1 {
	cpu-supply = <&vdd_cpu_l>;
};

&cpu_l2 {
	cpu-supply = <&vdd_cpu_l>;
};

&cpu_l3 {
	cpu-supply = <&vdd_cpu_l>;
};

&cpu_b0 {
	cpu-supply = <&vdd_cpu_b>;
};

&cpu_b1 {
	cpu-supply = <&vdd_cpu_b>;
};

&gpu {
	status = "okay";
	mali-supply = <&vdd_gpu>;
};

&threshold {
	temperature = <85000>;
};

&target {
	temperature = <100000>;
};

&soc_crit {
	temperature = <105000>;
};

&tcphy0 {
	//extcon = <&vpd0>;
	status = "okay";
};

&tcphy1 {
	status = "okay";
};

&tsadc {
	/* tshut mode 0:CRU 1:GPIO */
	rockchip,hw-tshut-mode = <1>;
	/* tshut polarity 0:LOW 1:HIGH */
	rockchip,hw-tshut-polarity = <1>;
	rockchip,hw-tshut-temp = <110000>;
	status = "okay";
};

&u2phy0 {
	status = "okay";

	u2phy0_otg: otg-port {
		vbus-supply = <&vcc_otg_vbus>;
		status = "okay";
	};

	u2phy0_host: host-port {
		phy-supply = <&vcc5v0_host>;
		status = "okay";
	};
};

&u2phy1 {
	status = "okay";

	u2phy1_otg: otg-port {
		status = "okay";
	};

	u2phy1_host: host-port {
		phy-supply = <&vcc5v0_host>;
		status = "okay";
	};
};

&uart0 {
	pinctrl-names = "default";
	pinctrl-0 = <&uart0_xfer &uart0_cts>;
	status = "okay";
};

&uart2 {
	status = "disabled";
};

/*&uart4 {
	status = "okay";
}; */

&usb_host0_ehci {
	status = "okay";
};

&usb_host0_ohci {
	status = "okay";
};

&usb_host1_ehci {
	status = "okay";
};

&usb_host1_ohci {
	status = "okay";
};

&usbdrd3_0 {
	status = "okay";
};

&usbdrd_dwc3_0 {
	dr_mode = "otg";
	extcon = <&u2phy0>;
	status = "okay";
};

&usbdrd3_1 {
	status = "okay";
};

&usbdrd_dwc3_1 {
	dr_mode = "host";
	status = "okay";
};

&usb_host0_ehci {
	status = "okay";
};

&usb_host0_ohci {
	status = "okay";
};

&usb_host1_ehci {
	status = "okay";
};

&usb_host1_ohci {
	status = "okay";
};

&pwm0 {
	status = "okay";
};

&pwm1 {
	status = "okay";
};

&pwm2 {
	status = "okay";
};

&pwm3 {
	status = "okay";

	interrupts = <GIC_SPI 61 IRQ_TYPE_LEVEL_HIGH 0>;
	compatible = "rockchip,remotectl-pwm";
	remote_pwm_id = <3>;
	handle_cpu_id = <1>;
	remote_support_psci = <1>;

	ir_key1 {
		rockchip,usercode = <0x4040>;
		rockchip,key_table =
			<0xf2	KEY_REPLY>,
			<0xba	KEY_BACK>,
			<0xf4	KEY_UP>,
			<0xf1	KEY_DOWN>,
			<0xef	KEY_LEFT>,
			<0xee	KEY_RIGHT>,
			<0xbd	KEY_HOME>,
			<0xea	KEY_VOLUMEUP>,
			<0xe3	KEY_VOLUMEDOWN>,
			<0xe2	KEY_SEARCH>,
			<0xb2	KEY_POWER>,
			<0xbc	KEY_MUTE>,
			<0xec	KEY_MENU>,
			<0xbf	0x190>,
			<0xe0	0x191>,
			<0xe1	0x192>,
			<0xe9	183>,
			<0xe6	248>,
			<0xe8	185>,
			<0xe7	186>,
			<0xf0	388>,
			<0xbe	0x175>;
	};

	ir_key2 {
		rockchip,usercode = <0xff00>;
		rockchip,key_table =
			<0xf9	KEY_HOME>,
			<0xbf	KEY_BACK>,
			<0xfb	KEY_MENU>,
			<0xaa	KEY_REPLY>,
			<0xb9	KEY_UP>,
			<0xe9	KEY_DOWN>,
			<0xb8	KEY_LEFT>,
			<0xea	KEY_RIGHT>,
			<0xeb	KEY_VOLUMEDOWN>,
			<0xef	KEY_VOLUMEUP>,
			<0xf7	KEY_MUTE>,
			<0xe7	KEY_POWER>,
			<0xfc	KEY_POWER>,
			<0xa9	KEY_VOLUMEDOWN>,
			<0xa8	KEY_VOLUMEDOWN>,
			<0xe0	KEY_VOLUMEDOWN>,
			<0xa5	KEY_VOLUMEDOWN>,
			<0xab	183>,
			<0xb7	388>,
			<0xe8	388>,
			<0xf8	184>,
			<0xaf	185>,
			<0xed	KEY_VOLUMEDOWN>,
			<0xee	186>,
			<0xb3	KEY_VOLUMEDOWN>,
			<0xf1	KEY_VOLUMEDOWN>,
			<0xf2	KEY_VOLUMEDOWN>,
			<0xf3	KEY_SEARCH>,
			<0xb4	KEY_VOLUMEDOWN>,
			<0xbe	KEY_SEARCH>;
	};

	ir_key3 {
		rockchip,usercode = <0x1dcc>;
		rockchip,key_table =
			<0xee	KEY_REPLY>,
			<0xf0	KEY_BACK>,
			<0xf8	KEY_UP>,
			<0xbb	KEY_DOWN>,
			<0xef	KEY_LEFT>,
			<0xed	KEY_RIGHT>,
			<0xfc	KEY_HOME>,
			<0xf1	KEY_VOLUMEUP>,
			<0xfd	KEY_VOLUMEDOWN>,
			<0xb7	KEY_SEARCH>,
			<0xff	KEY_POWER>,
			<0xf3	KEY_MUTE>,
			<0xbf	KEY_MENU>,
			<0xf9	0x191>,
			<0xf5	0x192>,
			<0xb3	388>,
			<0xbe	KEY_1>,
			<0xba	KEY_2>,
			<0xb2	KEY_3>,
			<0xbd	KEY_4>,
			<0xf9	KEY_5>,
			<0xb1	KEY_6>,
			<0xfc	KEY_7>,
			<0xf8	KEY_8>,
			<0xb0	KEY_9>,
			<0xb6	KEY_0>,
			<0xb5	KEY_BACKSPACE>;
	};
};

&gpio_keys {
    status = "okay";
    autorepeat;
	pinctrl-names = "default";
	pinctrl-0 = <&pwrbtn>;

	power {
		debounce-interval = <100>;
		gpios = <&gpio4 26 GPIO_ACTIVE_LOW>;
		label = "GPIO Key Power";
		linux,code = <KEY_POWER>;
		wakeup-source;
	};
};

&gmac {
	phy-supply = <&vcc_phy>;
	phy-mode = "rgmii";
	clock_in_out = "input";
	snps,reset-gpio = <&gpio3 15 GPIO_ACTIVE_LOW>;
	snps,reset-active-low;
	snps,reset-delays-us = <0 10000 50000>;
	assigned-clocks = <&cru SCLK_RMII_SRC>;
	assigned-clock-parents = <&clkin_gmac>;
	pinctrl-names = "default", "sleep";
	pinctrl-0 = <&rgmii_pins>;
	pinctrl-1 = <&rgmii_sleep_pins>;
	tx_delay = <0x28>;
	rx_delay = <0x11>;
	status = "okay";
};

&saradc {
	status = "okay";
	vref-supply = <&vcca_1v8>;
};

&i2s2 {
	status = "okay";
};

&io_domains {
	status = "okay";

	bt656-supply = <&vcc_3v0>; /* bt656_gpio2ab_ms */
	audio-supply = <&vcca_1v8>; /* audio_gpio3d4a_ms */
	sdmmc-supply = <&vccio_sd>; /* sdmmc_gpio4b_ms */
	gpio1830-supply = <&vcc_3v0>; /* gpio1833_gpio4cd_ms */
};

&pcie_phy {
	status = "okay";
};

&pcie0 {
	ep-gpios = <&gpio0 RK_PA1 GPIO_ACTIVE_HIGH>;
	num-lanes = <4>;
	pinctrl-names = "default";
	pinctrl-0 = <&pcie_clkreqnb_cpm>;
	status = "okay";
};

&spi1 {
	status = "okay";
	max-freq = <10000000>;

	spidev@0 {
	    compatible = "rockchip,spidev";
	    status = "disabled";
	    spi-max-frequency = <10000000>;
	    reg = <0x0>;
    };

	spiflash: spi-flash@0 {
		#address-cells = <0x1>;
		#size-cells = <1>;
		compatible = "jedec,spi-nor";
		reg = <0x0>;
		spi-max-frequency = <10000000>;
		status = "okay";

		partitions {
			compatible = "fixed-partitions";
			#address-cells = <1>;
			#size-cells = <1>;

			loader@0 {
				label = "loader";
				reg = <0x0 0x400000>;
			};
		};
	};
};

/*&spi2 {
	status = "okay";
	max-freq = <48000000>;

	spidev@0 {
	    compatible = "rockchip,spidev";
	    spi-max-frequency = <48000000>;
	    status = "okay";
	    reg = <0x0>;
    };
};*/

&dmc {
	status = "disabled";
	center-supply = <&vdd_center>;
	upthreshold = <40>;
	downdifferential = <20>;
	system-status-freq = <
		/*system status         freq(KHz)*/
		SYS_STATUS_NORMAL       800000
		SYS_STATUS_REBOOT       528000
		SYS_STATUS_SUSPEND      200000
		SYS_STATUS_VIDEO_1080P  200000
		SYS_STATUS_VIDEO_4K     600000
		SYS_STATUS_VIDEO_4K_10B 800000
		SYS_STATUS_PERFORMANCE  800000
		SYS_STATUS_BOOST        400000
		SYS_STATUS_DUALVIEW     600000
		SYS_STATUS_ISP          600000
	>;
	vop-bw-dmc-freq = <
	/* min_bw(MB/s) max_bw(MB/s) freq(KHz) */
		0       762      200000
		763     1893     400000
		1894    3012     528000
		3013    99999    800000
	>;

	auto-min-freq = <200000>;
};

&pinctrl {

	lcd {
		lcd_rst_gpio: lcd-rst-gpio {
			rockchip,pins = <1 RK_PC2 RK_FUNC_GPIO &pcfg_pull_up>;
		};
	};

	sdio0 {
		sdio0_bus1: sdio0-bus1 {
			rockchip,pins =
				<2 20 RK_FUNC_1 &pcfg_pull_up_20ma>;
		};

		sdio0_bus4: sdio0-bus4 {
			rockchip,pins =
				<2 20 RK_FUNC_1 &pcfg_pull_up_20ma>,
				<2 21 RK_FUNC_1 &pcfg_pull_up_20ma>,
				<2 22 RK_FUNC_1 &pcfg_pull_up_20ma>,
				<2 23 RK_FUNC_1 &pcfg_pull_up_20ma>;
		};

		sdio0_cmd: sdio0-cmd {
			rockchip,pins =
				<2 24 RK_FUNC_1 &pcfg_pull_up_20ma>;
		};

		sdio0_clk: sdio0-clk {
			rockchip,pins =
				<2 25 RK_FUNC_1 &pcfg_pull_none_20ma>;
		};
	};

	sdmmc {
		sdmmc_bus1: sdmmc-bus1 {
			rockchip,pins =
				<4 8 RK_FUNC_1 &pcfg_pull_up_8ma>;
		};

		sdmmc_bus4: sdmmc-bus4 {
			rockchip,pins =
				<4 8 RK_FUNC_1 &pcfg_pull_up_8ma>,
				<4 9 RK_FUNC_1 &pcfg_pull_up_8ma>,
				<4 10 RK_FUNC_1 &pcfg_pull_up_8ma>,
				<4 11 RK_FUNC_1 &pcfg_pull_up_8ma>;
		};

		sdmmc_clk: sdmmc-clk {
			rockchip,pins =
				<4 12 RK_FUNC_1 &pcfg_pull_none_18ma>;
		};

		sdmmc_cmd: sdmmc-cmd {
			rockchip,pins =
				<4 13 RK_FUNC_1 &pcfg_pull_up_8ma>;
		};
	};

	sdio-pwrseq {
		wifi_enable_h: wifi-enable-h {
			rockchip,pins =
				<0 10 RK_FUNC_GPIO &pcfg_pull_none>;
		};
	};

	tp {
		tp_gpio: tp-gpio {
			rockchip,pins = <1 RK_PD0 RK_FUNC_GPIO &pcfg_pull_up>,
					<1 RK_PA0 RK_FUNC_GPIO &pcfg_pull_none>;
		};
	};

	wireless-bluetooth {
		uart0_gpios: uart0-gpios {
			rockchip,pins =
				<2 19 RK_FUNC_GPIO &pcfg_pull_none>;
		};
	};

	usb{
		otg_vbus_drv: otg-vbus-drv {
			rockchip,pins =
				<1 3 RK_FUNC_GPIO &pcfg_pull_none>;
		};
	};

	usb2 {
		host_vbus_drv: host-vbus-drv {
			rockchip,pins =
				<3 30 RK_FUNC_GPIO &pcfg_pull_none>;
		};
	};

	pcie {
		pcie_drv: pcie-drv {
			rockchip,pins =
				<3 RK_PD1 RK_FUNC_GPIO &pcfg_pull_up_20ma>;
			};
	};

	pmic {
		pmic_int_l: pmic-int-l {
			rockchip,pins =
				<1 RK_PC5 RK_FUNC_GPIO &pcfg_pull_up>;
		};

		vsel1_gpio: vsel1-gpio {
			rockchip,pins =
				<1 RK_PC1 RK_FUNC_GPIO &pcfg_pull_down>;
		};

		vsel2_gpio: vsel2-gpio {
			rockchip,pins =
				<1 RK_PB6 RK_FUNC_GPIO &pcfg_pull_down>;
		};

		soc_slppin_gpio: soc-slppin-gpio {
			rockchip,pins =
				<1 RK_PA5 RK_FUNC_GPIO &pcfg_output_low>;
		};

		soc_slppin_slp: soc-slppin-slp {
			rockchip,pins =
				<1 RK_PA5 1 &pcfg_pull_none>;
		};
	};

	gmac {
		rgmii_sleep_pins: rgmii-sleep-pins {
			rockchip,pins =
				<3 15 RK_FUNC_GPIO &pcfg_output_low>;
		};
	};

	i2s0 {
	    i2s0_8ch_bus: i2s0-8ch-bus {
	        rockchip,pins =
	            <3 24 RK_FUNC_1 &pcfg_pull_none>,
	            //<3 25 RK_FUNC_1 &pcfg_pull_none>,
	            <3 26 RK_FUNC_1 &pcfg_pull_none>,
	            <3 27 RK_FUNC_1 &pcfg_pull_none>,
	            <3 31 RK_FUNC_1 &pcfg_pull_none>;
	    };

	    i2s_8ch_mclk: i2s-8ch-mclk {
	        rockchip,pins = <4 0 RK_FUNC_1 &pcfg_pull_none>;
	    };
	};

	headphone {
		hp_det: hp-det {
			rockchip,pins = <0 RK_PA2 RK_FUNC_GPIO &pcfg_pull_up>;
		};
	};
};

&pvtm {
	status = "okay";
};

&pmu_pvtm {
	status = "okay";
};

&pmu_io_domains {
	status = "okay";
	pmu1830-supply = <&vcc_3v0>;
};

&rockchip_suspend {
	status = "okay";
	rockchip,sleep-debug-en = <0>;
	rockchip,sleep-mode-config = <
		(0
		| RKPM_SLP_ARMPD
		| RKPM_SLP_PERILPPD
		| RKPM_SLP_DDR_RET
		| RKPM_SLP_PLLPD
		| RKPM_SLP_CENTER_PD
		| RKPM_SLP_AP_PWROFF
		)
	>;
	rockchip,wakeup-config = <
		(0
		| RKPM_GPIO_WKUP_EN
		| RKPM_PWM_WKUP_EN
		)
	>;
	rockchip,pwm-regulator-config = <
		(0
		| PWM2_REGULATOR_EN
		)
	>;
	rockchip,power-ctrl =
		<&gpio1 17 GPIO_ACTIVE_HIGH>,
		<&gpio1 14 GPIO_ACTIVE_HIGH>;
};

&vopb {
	assigned-clocks = <&cru DCLK_VOP0_DIV>;
	assigned-clock-parents = <&cru PLL_VPLL>;
};

&vopl {
	assigned-clocks = <&cru DCLK_VOP1_DIV>;
	assigned-clock-parents = <&cru PLL_CPLL>;
};
